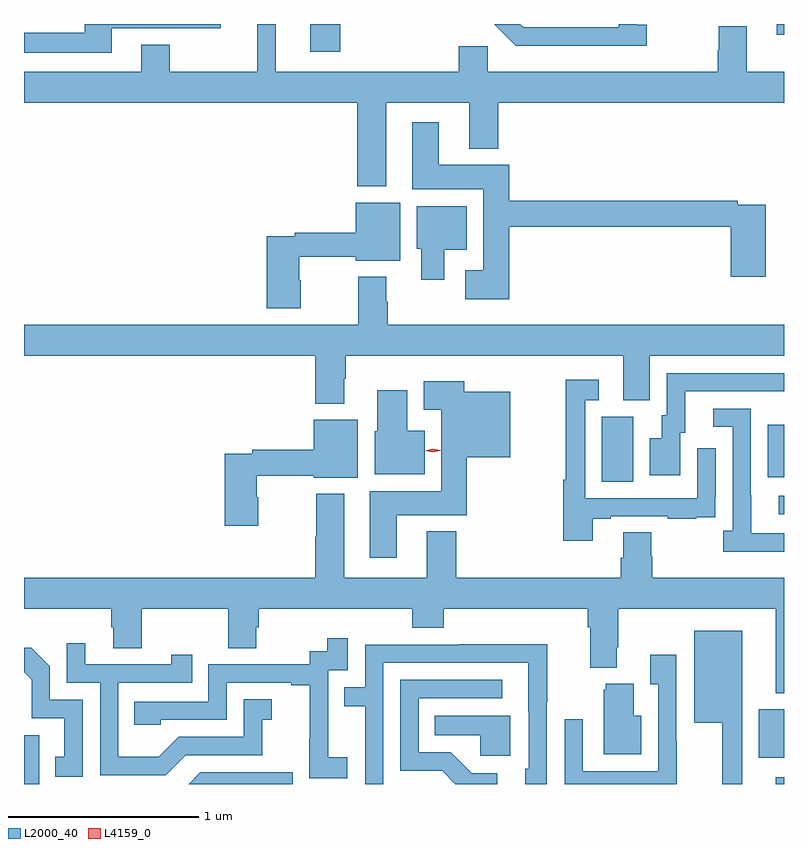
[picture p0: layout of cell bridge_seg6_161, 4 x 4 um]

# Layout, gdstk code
import gdstk
lib = gdstk.Library(unit=1e-6, precision=1e-09)
def R(c, l, rs):  # rectangles x0, y0, x1, y1
    for r in rs: c.add(gdstk.rectangle(r[:2], r[2:], *l))
def P(c, l, *ps):  # polygons
    for p in ps: c.add(gdstk.Polygon(p, *l))
L2000_40 = (2000, 40)
L4159_0 = (4159, 0)

bridge_seg6_161 = lib.new_cell('bridge_seg6_161')
R(bridge_seg6_161, L2000_40, [(549.668,985.042,549.747,985.299), (553.625,985.042,553.668,985.078), (553.535,985.181,553.668,985.435), (553.641,986.463,553.668,986.559), (552.71,986.632,552.874,986.976), (553.583,986.657,553.668,986.932), (551.174,988.896,551.333,989.042), (553.631,988.986,553.668,989.042)])
P(bridge_seg6_161, L2000_40, [(552.946,989.038),(552.894,989.038),(552.894,989.042),(552.797,989.042),(552.797,989.025),(552.297,989.025),(552.28,989.042),(552.142,989.042),(552.256,988.928),(552.946,988.928)],
  [(550.129,989.019),(550.703,989.019),(550.703,989.042),(549.989,989.042),(549.989,988.996),(549.668,988.996),(549.668,988.892),(550.129,988.892)],
  [(551.575,988.628),(552.011,988.628),(552.011,988.385),(552.164,988.385),(552.164,988.628),(553.668,988.628),(553.668,988.792),(553.471,988.792),(553.471,989.03),(553.324,989.03),(553.324,988.905),(553.319,988.905),(553.319,988.792),(552.108,988.792),(552.108,988.924),(551.957,988.924),(551.957,988.792),(550.994,988.792),(550.994,989.042),(550.895,989.042),(550.895,988.792),(550.434,988.792),(550.434,988.934),(550.286,988.934),(550.286,988.792),(549.668,988.792),(549.668,988.628),(551.423,988.628),(551.423,988.187),(551.575,988.187)],
  [(552.221,987.976),(553.388,987.976),(553.388,987.711),(553.571,987.711),(553.571,988.092),(553.424,988.092),(553.424,988.112),(552.221,988.112),(552.221,988.3),(551.851,988.3),(551.851,988.525),(551.711,988.525),(551.711,988.172),(552.086,988.172),(552.086,987.745),(551.991,987.745),(551.991,987.593),(552.221,987.593)],
  [(551.124,987.693),(551.116,987.693),(551.116,987.816),(551.414,987.816),(551.414,987.797),(551.647,987.797),(551.647,988.102),(551.414,988.102),(551.414,987.944),(551.092,987.944),(551.092,987.924),(550.946,987.924),(550.946,987.545),(551.124,987.545)],
  [(551.881,987.854),(551.998,987.854),(551.998,988.084),(551.735,988.084),(551.735,987.858),(551.759,987.858),(551.759,987.696),(551.881,987.696)],
  [(551.353,987.176),(551.361,987.176),(551.361,987.296),(552.821,987.296),(552.821,987.061),(552.961,987.061),(552.961,987.296),(553.668,987.296),(553.668,987.46),(551.583,987.46),(551.583,987.581),(551.575,987.581),(551.575,987.712),(551.428,987.712),(551.428,987.46),(549.668,987.46),(549.668,987.296),(551.201,987.296),(551.201,987.044),(551.353,987.044)],
  [(553.123,986.892),(553.147,986.892),(553.147,987.108),(553.668,987.108),(553.668,987.204),(553.05,987.204),(553.05,986.982),(553.025,986.982),(553.025,986.863),(552.962,986.863),(552.962,986.667),(553.123,986.667)],
  [(552.661,986.439),(552.757,986.439),(552.757,986.451),(553.057,986.451),(553.057,986.439),(553.205,986.439),(553.205,986.445),(553.307,986.445),(553.307,986.554),(553.308,986.554),(553.308,986.809),(553.212,986.809),(553.212,986.547),(552.621,986.547),(552.621,987.063),(552.694,987.063),(552.694,987.169),(552.52,987.169),(552.52,986.644),(552.505,986.644),(552.505,986.322),(552.661,986.322)],
  [(551.629,986.456),(551.999,986.456),(551.999,986.762),(552.226,986.762),(552.226,987.106),(551.986,987.106),(551.986,987.163),(551.771,987.163),(551.771,987.011),(551.864,987.011),(551.864,986.584),(551.489,986.584),(551.489,986.232),(551.629,986.232)],
  [(551.776,986.902),(551.686,986.902),(551.686,987.115),(551.528,987.115),(551.528,986.898),(551.513,986.898),(551.513,986.672),(551.776,986.672)],
  [(553.668,986.361),(553.495,986.361),(553.495,986.561),(553.494,986.561),(553.494,987.018),(553.296,987.018),(553.296,986.922),(553.398,986.922),(553.398,986.374),(553.347,986.374),(553.347,986.264),(553.668,986.264)],
  [(550.902,986.55),(550.894,986.55),(550.894,986.665),(551.192,986.665),(551.192,986.654),(551.425,986.654),(551.425,986.959),(551.192,986.959),(551.192,986.801),(550.87,986.801),(550.87,986.781),(550.724,986.781),(550.724,986.4),(550.902,986.4)],
  [(553.668,986.128),(552.974,986.128),(552.974,986.241),(552.969,986.241),(552.969,986.366),(552.821,986.366),(552.821,986.234),(552.809,986.234),(552.809,986.128),(551.942,986.128),(551.942,986.371),(551.789,986.371),(551.789,986.128),(551.353,986.128),(551.353,986.569),(551.206,986.569),(551.206,986.343),(551.201,986.343),(551.201,986.128),(549.668,986.128),(549.668,985.964),(550.127,985.964),(550.127,985.866),(550.139,985.866),(550.139,985.756),(550.287,985.756),(550.287,985.964),(550.744,985.964),(550.744,985.756),(550.891,985.756),(550.891,985.866),(550.904,985.866),(550.904,985.964),(551.711,985.964),(551.711,985.865),(551.876,985.865),(551.876,985.964),(552.635,985.964),(552.635,985.868),(552.647,985.868),(552.647,985.655),(552.787,985.655),(552.787,985.762),(552.795,985.762),(552.795,985.964),(553.625,985.964),(553.625,985.52),(553.668,985.52)],
  [(553.447,985.849),(553.196,985.849),(553.196,985.364),(553.343,985.364),(553.343,985.042),(553.447,985.042)],
  [(551.368,985.183),(551.27,985.183),(551.27,985.412),(551.268,985.412),(551.268,985.641),(551.373,985.641),(551.373,985.81),(551.265,985.81),(551.265,985.74),(551.172,985.74),(551.172,985.671),(550.638,985.671),(550.638,985.476),(550.249,985.476),(550.249,985.353),(550.389,985.353),(550.389,985.38),(550.734,985.38),(550.734,985.575),(551.075,985.575),(551.075,985.563),(551.171,985.563),(551.171,985.279),(551.17,985.279),(551.17,985.073),(551.368,985.073)],
  [(550.519,985.194),(550.923,985.194),(550.923,985.379),(550.972,985.379),(550.972,985.489),(550.824,985.489),(550.824,985.29),(550.482,985.29),(550.378,985.186),(550.164,985.186),(550.164,985.575),(550.553,985.575),(550.553,985.723),(550.442,985.723),(550.442,985.671),(549.991,985.671),(549.991,985.783),(549.894,985.783),(549.894,985.575),(550.068,985.575),(550.068,985.089),(550.414,985.089)],
  [(551.559,985.68),(552.323,985.68),(552.323,985.426),(552.324,985.426),(552.324,985.122),(552.305,985.122),(552.305,985.042),(552.42,985.042),(552.42,985.471),(552.423,985.471),(552.423,985.778),(551.959,985.778),(551.959,985.776),(551.463,985.776),(551.463,985.551),(551.353,985.551),(551.353,985.45),(551.463,985.45),(551.463,985.042),(551.559,985.042)],
  [(549.978,985.485),(549.804,985.485),(549.804,985.662),(549.706,985.76),(549.668,985.76),(549.668,985.63),(549.708,985.59),(549.708,985.389),(549.881,985.389),(549.881,985.185),(549.832,985.185),(549.832,985.08),(549.978,985.08)],
  [(553.104,985.268),(553.101,985.268),(553.101,985.723),(552.965,985.723),(552.965,985.567),(553.005,985.567),(553.005,985.11),(552.609,985.11),(552.609,985.384),(552.513,985.384),(552.513,985.042),(553.104,985.042)],
  [(552.16,985.098),(552.025,985.098),(551.914,985.209),(551.745,985.209),(551.745,985.494),(552.184,985.494),(552.184,985.59),(551.649,985.59),(551.649,985.113),(551.868,985.113),(551.939,985.042),(552.16,985.042)],
  [(552.916,985.402),(552.877,985.402),(552.877,985.57),(552.731,985.57),(552.731,985.539),(552.719,985.539),(552.719,985.199),(552.916,985.199)],
  [(552.226,985.402),(551.83,985.402),(551.83,985.298),(552.069,985.298),(552.069,985.19),(552.226,985.19)],
  [(551.082,985.104),(550.596,985.104),(550.534,985.042),(551.082,985.042)])
P(bridge_seg6_161, L4159_0, [(551.82,986.787),(551.781,986.795),(551.781,986.796),(551.781,986.796),(551.82,986.807),(551.858,986.798),(551.858,986.798),(551.858,986.797)])

lib.write_gds('bridge_seg6_161.gds')
